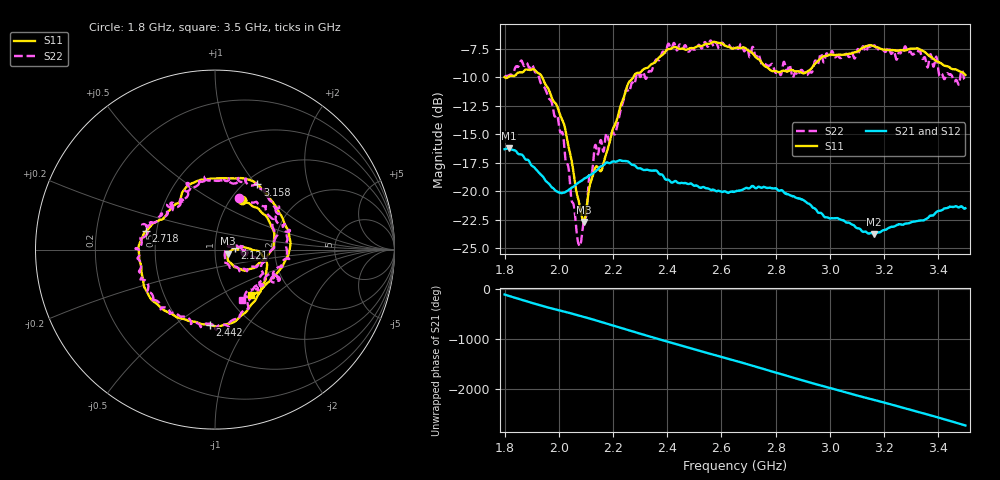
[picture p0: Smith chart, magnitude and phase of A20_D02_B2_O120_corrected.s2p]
! Created with skrf 1.9.0 (http://scikit-rf.org).
# Hz S RI R 50.0
!freq ReS11 ImS11 ReS21 ImS21 ReS12 ImS12 ReS22 ImS22
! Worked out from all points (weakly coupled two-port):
!   1601 points, 1.8 GHz to 3.5 GHz, reference 50 ohm
!   highest |S21| = -16.25 dB at 1.817 GHz (marker M1); lowest = -23.8 dB at 3.163 GHz (marker M2)
!   lowest |S11| = -22.7 dB at 2.092 GHz (marker M3), VSWR 1.16, Z = 57.5 - j2.53 ohm
!   |S11| at or under -10 dB: start of sweep to 1.813 GHz; 1.938 GHz to 2.275 GHz (336.4 MHz wide, 16 % of centre)
!   |S22| runs from -24.8 to -6.8 dB; largest |S21 - S12| = 0.0026
!   S11 on the Smith chart (normalised r, x): 1.8 GHz: 1.12, +0.70; 2.121 GHz: 1.25, +0.02; 2.442 GHz: 0.67, -0.68; 2.718 GHz: 0.44, +0.11; 3.158 GHz: 1.14, +1.02; 3.5 GHz: 1.27, -0.72
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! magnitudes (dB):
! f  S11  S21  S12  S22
! 1.8 GHz  -10.0  -16.3  -16.3  -9.9
! 1.817 GHz  -9.9  -16.3  -16.3  -9.8
! 1.902 GHz  -9.3  -17.8  -17.7  -8.9
! 1.968 GHz  -11.4  -19.5  -19.5  -12.0
! 2.021 GHz  -14.3  -20.1  -20.1  -16.3
! 2.071 GHz  -20.6  -19.3  -19.3  -24.5
! 2.084 GHz  -22.0  -19.1  -19.0  -24.1
! 2.092 GHz  -22.7  -18.9  -19.0  -22.6
! 2.121 GHz  -19.0  -18.5  -18.5  -18.4
! 2.161 GHz  -17.9  -17.8  -17.7  -16.3
! 2.209 GHz  -14.1  -17.4  -17.4  -14.9
! 2.258 GHz  -10.5  -17.4  -17.4  -11.3
! 2.367 GHz  -8.3  -18.4  -18.3  -8.5
! 2.442 GHz  -7.5  -19.3  -19.3  -7.3
! 2.65 GHz  -7.5  -20.0  -20.0  -7.3
! 2.718 GHz  -8.0  -19.6  -19.5  -7.5
! 2.812 GHz  -9.6  -20.0  -19.8  -9.4
! 2.934 GHz  -9.2  -21.4  -21.3  -9.6
! 3.158 GHz  -7.3  -23.7  -23.7  -7.4
! 3.163 GHz  -7.3  -23.8  -23.7  -7.2
! 3.217 GHz  -7.6  -23.2  -23.2  -7.4
! 3.5 GHz  -9.8  -21.5  -21.5  -9.9
